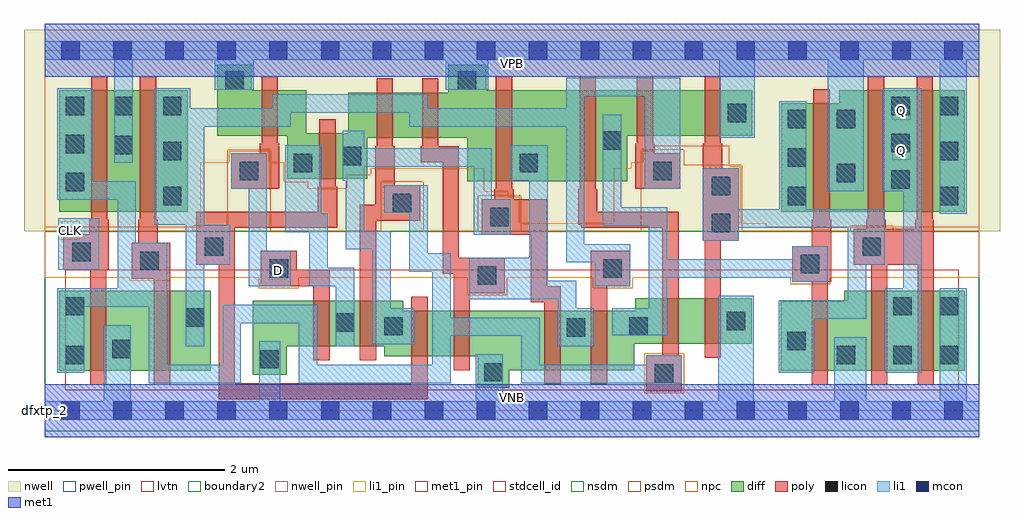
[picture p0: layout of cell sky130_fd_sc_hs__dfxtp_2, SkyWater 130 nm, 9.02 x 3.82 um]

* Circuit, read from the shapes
.subckt sky130_fd_sc_hs__dfxtp_2 CLK D Q VGND VNB VPB VPWR
XM1 VGND CLK n1 VNB sky130_fd_pr__nfet_01v8_lvt w=0.74 l=0.15
XM2 n2 n1 VGND VNB sky130_fd_pr__nfet_01v8_lvt w=0.74 l=0.15
XM3 n3 D VGND VNB sky130_fd_pr__nfet_01v8_lvt w=0.42 l=0.15
XM4 n4 n1 n3 VNB sky130_fd_pr__nfet_01v8_lvt w=0.42 l=0.15
XM5 n5 n2 n4 VNB sky130_fd_pr__nfet_01v8_lvt w=0.42 l=0.15
XM6 VGND n6 n5 VNB sky130_fd_pr__nfet_01v8_lvt w=0.42 l=0.15
XM7 n6 n4 VGND VNB sky130_fd_pr__nfet_01v8_lvt w=0.55 l=0.15
XM8 n7 n2 n6 VNB sky130_fd_pr__nfet_01v8_lvt w=0.55 l=0.15
XM9 n8 n1 n7 VNB sky130_fd_pr__nfet_01v8_lvt w=0.42 l=0.15
XM10 VGND n9 n8 VNB sky130_fd_pr__nfet_01v8_lvt w=0.42 l=0.15
XM11 VGND n7 n9 VNB sky130_fd_pr__nfet_01v8_lvt w=0.64 l=0.15
XM12 Q n9 VGND VNB sky130_fd_pr__nfet_01v8_lvt w=0.74 l=0.15 m=2
XM13 VPWR CLK n1 VPB sky130_fd_pr__pfet_01v8 w=1.12 l=0.15
XM14 n2 n1 VPWR VPB sky130_fd_pr__pfet_01v8 w=1.12 l=0.15
XM15 n3 D VPWR VPB sky130_fd_pr__pfet_01v8 w=0.42 l=0.15
XM16 n4 n2 n3 VPB sky130_fd_pr__pfet_01v8 w=0.42 l=0.15
XM17 n10 n1 n4 VPB sky130_fd_pr__pfet_01v8 w=0.42 l=0.15
XM18 VPWR n6 n10 VPB sky130_fd_pr__pfet_01v8 w=0.42 l=0.15
XM19 n6 n4 VPWR VPB sky130_fd_pr__pfet_01v8 w=0.84 l=0.15
XM20 n7 n1 n6 VPB sky130_fd_pr__pfet_01v8 w=0.84 l=0.15
XM21 n11 n2 n7 VPB sky130_fd_pr__pfet_01v8 w=0.42 l=0.15
XM22 VPWR n9 n11 VPB sky130_fd_pr__pfet_01v8 w=0.42 l=0.15
XM23 VPWR n7 n9 VPB sky130_fd_pr__pfet_01v8 w=1 l=0.15
XM24 Q n9 VPWR VPB sky130_fd_pr__pfet_01v8 w=1.12 l=0.15 m=2
.ends

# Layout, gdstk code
import gdstk
lib = gdstk.Library(unit=1e-6, precision=1e-09)
def R(c, l, rs):  # rectangles x0, y0, x1, y1
    for r in rs: c.add(gdstk.rectangle(r[:2], r[2:], *l))
def A(c, l, x, y, w, h, nx, ny, dx, dy):  # array of equal rectangles
    R(c, l, [(x+i*dx, y+j*dy, x+i*dx+w, y+j*dy+h) for i in range(nx) for j in range(ny)])
def P(c, l, *ps):  # polygons
    for p in ps: c.add(gdstk.Polygon(p, *l))
nwell_pin = (64, 16)
nwell = (64, 20)
diff = (65, 20)
poly = (66, 20)
licon = (66, 44)
li1_pin = (67, 16)
li1 = (67, 20)
mcon = (67, 44)
met1_pin = (68, 16)
met1 = (68, 20)
stdcell_id = (81, 4)
nsdm = (93, 44)
psdm = (94, 20)
npc = (95, 20)
pwell_pin = (122, 16)
lvtn = (125, 44)
boundary2 = (236, 0)

sky130_fd_sc_hs__dfxtp_2 = lib.new_cell('sky130_fd_sc_hs__dfxtp_2')
R(sky130_fd_sc_hs__dfxtp_2, nwell_pin, [(0,3.085,8.64,3.33)])
R(sky130_fd_sc_hs__dfxtp_2, nwell, [(-0.19,1.66,8.83,3.52)])
R(sky130_fd_sc_hs__dfxtp_2, diff, [(0.135,0.37,1.535,1.11), (0.135,1.84,1.325,2.96)])
P(sky130_fd_sc_hs__dfxtp_2, diff, [(6.535,1.04),(5.46,1.04),(5.46,0.925),(3.315,0.925),(3.315,1.015),(1.925,1.015),(1.925,0.33),(2.24,0.33),(2.24,0.595),(3.14,0.595),(3.14,0.505),(4.005,0.505),(4.005,0.21),(4.295,0.21),(4.295,0.375),(5.45,0.375),(5.45,0.62),(6.535,0.62)],
  [(6.54,2.96),(4.08,2.96),(4.08,3.195),(3.73,3.195),(3.73,2.94),(2.805,2.94),(2.805,2.565),(2.42,2.565),(2.42,2.96),(1.915,2.96),(1.915,3.195),(1.595,3.195),(1.595,2.54),(2.245,2.54),(2.245,2.145),(2.98,2.145),(2.98,2.52),(3.905,2.52),(3.905,2.12),(5.385,2.12),(5.385,2.54),(6.54,2.54)],
  [(8.505,2.96),(7.345,2.96),(7.345,2.84),(6.81,2.84),(6.81,1.84),(8.505,1.84)],
  [(8.505,1.11),(7.39,1.11),(7.39,1.01),(6.805,1.01),(6.805,0.37),(8.505,0.37)])
P(sky130_fd_sc_hs__dfxtp_2, poly, [(3.47,2.085),(3.235,2.085),(3.235,2.445),(3.22,2.445),(3.22,3.07),(3.07,3.07),(3.07,2.445),(3.055,2.445),(3.055,1.905),(2.915,1.905),(2.915,0.465),(3.065,0.465),(3.065,1.755),(3.47,1.755)],
  [(2.635,1.3),(2.33,1.3),(2.33,1.48),(2,1.48),(2,1.15),(2.485,1.15),(2.485,0.465),(2.635,0.465)],
  [(2.17,2.465),(2.155,2.465),(2.155,3.09),(2.005,3.09),(2.005,2.465),(1.99,2.465),(1.99,2.38),(1.725,2.38),(1.725,2.05),(2.17,2.05)],
  [(1.16,1.55),(1.045,1.55),(1.045,1.765),(1.03,1.765),(1.03,3.09),(0.88,3.09),(0.88,1.765),(0.865,1.765),(0.865,1.55),(0.805,1.55),(0.805,1.22),(1.01,1.22),(1.01,0.24),(1.16,0.24)],
  [(0.595,1.765),(0.58,1.765),(0.58,3.09),(0.43,3.09),(0.43,1.765),(0.415,1.765),(0.415,1.63),(0.175,1.63),(0.175,1.3),(0.42,1.3),(0.42,0.24),(0.57,0.24),(0.57,1.3),(0.595,1.3)],
  [(3.54,1.055),(3.39,1.055),(3.39,0.255),(1.76,0.255),(1.76,1.69),(2.705,1.69),(2.705,2.07),(2.69,2.07),(2.69,2.695),(2.54,2.695),(2.54,2.07),(2.525,2.07),(2.525,1.84),(1.4,1.84),(1.4,1.35),(1.61,1.35),(1.61,0.105),(3.54,0.105)],
  [(4.255,1.415),(3.83,1.415),(3.83,2.445),(3.64,2.445),(3.64,3.07),(3.49,3.07),(3.49,2.445),(3.475,2.445),(3.475,2.295),(3.68,2.295),(3.68,1.265),(3.78,1.265),(3.78,0.375),(3.93,0.375),(3.93,1.085),(4.255,1.085)],
  [(4.77,1.15),(4.645,1.15),(4.645,1.955),(4.335,1.955),(4.335,2.045),(4.32,2.045),(4.32,3.09),(4.17,3.09),(4.17,2.045),(4.155,2.045),(4.155,1.955),(4.04,1.955),(4.04,1.625),(4.495,1.625),(4.495,1),(4.62,1),(4.62,0.245),(4.77,0.245)],
  [(5.415,1.48),(5.05,1.48),(5.05,0.245),(5.2,0.245),(5.2,1.15),(5.415,1.15)],
  [(5.875,2.38),(5.64,2.38),(5.64,2.465),(5.625,2.465),(5.625,3.09),(5.475,3.09),(5.475,2.465),(5.46,2.465),(5.46,2.05),(5.875,2.05)],
  [(5.89,0.51),(5.86,0.51),(5.86,1.84),(5.11,1.84),(5.11,2.045),(5.095,2.045),(5.095,3.09),(4.945,3.09),(4.945,2.045),(4.93,2.045),(4.93,1.72),(4.96,1.72),(4.96,1.69),(5.71,1.69),(5.71,0.51),(5.56,0.51),(5.56,0.18),(5.89,0.18)],
  [(6.415,2.24),(6.265,2.24),(6.265,2.465),(6.25,2.465),(6.25,3.09),(6.1,3.09),(6.1,2.465),(6.085,2.465),(6.085,1.57),(6.1,1.57),(6.1,0.49),(6.25,0.49),(6.25,1.57),(6.415,1.57)],
  [(7.27,1.765),(7.255,1.765),(7.255,2.97),(7.105,2.97),(7.105,1.765),(7.09,1.765),(7.09,1.52),(6.91,1.52),(6.91,1.19),(7.09,1.19),(7.09,0.24),(7.24,0.24),(7.24,1.19),(7.27,1.19)],
  [(8.22,1.765),(8.21,1.765),(8.21,3.09),(8.06,3.09),(8.06,1.765),(8.045,1.765),(8.045,1.68),(7.775,1.68),(7.775,1.765),(7.76,1.765),(7.76,3.09),(7.61,3.09),(7.61,1.765),(7.595,1.765),(7.595,1.68),(7.48,1.68),(7.48,1.35),(7.64,1.35),(7.64,0.24),(7.79,0.24),(7.79,1.35),(8.07,1.35),(8.07,0.24),(8.22,0.24)])
A(sky130_fd_sc_hs__dfxtp_2, licon, 6.87, 1.9, 0.17, 0.17, 1, 3, 0, 0.355)
A(sky130_fd_sc_hs__dfxtp_2, licon, 8.275, 1.9, 0.17, 0.17, 1, 3, 0, 0.415)
A(sky130_fd_sc_hs__dfxtp_2, licon, 7.825, 2.05, 0.17, 0.17, 1, 3, 0, 0.34)
A(sky130_fd_sc_hs__dfxtp_2, licon, 0.195, 2.73, 0.17, 0.17, 3, 1, 0.45, 0)
R(sky130_fd_sc_hs__dfxtp_2, licon, [(5.64,0.26,5.81,0.43), (4.065,0.27,4.235,0.44), (1.995,0.39,2.165,0.56), (0.195,0.43,0.365,0.6), (7.32,0.43,7.49,0.6), (7.845,0.43,8.015,0.6), (8.275,0.43,8.445,0.6), (0.625,0.485,0.795,0.655), (6.865,0.56,7.035,0.73), (4.825,0.685,4.995,0.855), (3.14,0.695,3.31,0.865), (5.405,0.695,5.575,0.865), (2.69,0.73,2.86,0.9), (6.305,0.745,6.475,0.915), (1.305,0.775,1.475,0.945), (0.195,0.88,0.365,1.05), (7.845,0.88,8.015,1.05), (8.275,0.88,8.445,1.05), (4.005,1.165,4.175,1.335), (2.08,1.23,2.25,1.4), (5.165,1.23,5.335,1.4), (6.99,1.27,7.16,1.44), (0.885,1.3,1.055,1.47), (0.255,1.38,0.425,1.55), (1.48,1.43,1.65,1.6), (7.56,1.43,7.73,1.6), (6.165,1.65,6.335,1.82), (4.12,1.705,4.29,1.875), (3.22,1.835,3.39,2.005), (1.095,1.9,1.265,2.07), (6.165,1.99,6.335,2.16), (0.195,2.03,0.365,2.2), (7.32,2.11,7.49,2.28), (1.805,2.13,1.975,2.3), (5.625,2.13,5.795,2.3), (2.305,2.205,2.475,2.375), (4.39,2.205,4.56,2.375), (2.755,2.27,2.925,2.44), (1.095,2.315,1.265,2.485), (0.645,2.37,0.815,2.54), (0.195,2.38,0.365,2.55), (5.16,2.41,5.33,2.58), (7.32,2.61,7.49,2.78), (6.315,2.665,6.485,2.835), (1.67,2.965,1.84,3.135), (3.82,2.965,3.99,3.135)])
R(sky130_fd_sc_hs__dfxtp_2, li1_pin, [(2.075,1.21,2.245,1.38), (0.155,1.58,0.325,1.75), (7.835,2.32,8.005,2.49), (7.835,2.69,8.005,2.86)])
R(sky130_fd_sc_hs__dfxtp_2, li1, [(0.125,1.3,0.505,1.78)])
P(sky130_fd_sc_hs__dfxtp_2, li1, [(0,-0.085),(0,0.085),(0.545,0.085),(0.545,0.79),(0.795,0.79),(0.795,0.085),(1.985,0.085),(1.985,0.64),(2.18,0.64),(2.18,0.085),(3.985,0.085),(3.985,0.52),(4.235,0.52),(4.235,0.085),(6.225,0.085),(6.225,1.06),(6.555,1.06),(6.555,0.085),(7.3,0.085),(7.3,0.68),(7.595,0.68),(7.595,0.085),(8.275,0.085),(8.275,1.13),(8.525,1.13),(8.525,0.085),(8.64,0.085),(8.64,-0.085)],
  [(0,3.245),(0,3.415),(8.64,3.415),(8.64,3.245),(8.525,3.245),(8.525,1.82),(8.275,1.82),(8.275,3.245),(7.57,3.245),(7.57,2.03),(7.24,2.03),(7.24,3.245),(6.565,3.245),(6.565,2.52),(6.235,2.52),(6.235,3.245),(4.1,3.245),(4.1,2.965),(3.71,2.965),(3.71,3.245),(1.935,3.245),(1.935,2.965),(1.575,2.965),(1.575,3.245),(0.815,3.245),(0.815,2.29),(0.645,2.29),(0.645,3.245)],
  [(7.745,2.03),(7.745,2.98),(8.105,2.98),(8.105,0.35),(7.765,0.35),(7.765,1.13),(7.935,1.13),(7.935,2.03)],
  [(3.585,1.285),(3.37,1.285),(3.37,1.83),(3.14,1.83),(3.14,2.085),(3.54,2.085),(3.54,1.455),(3.755,1.455),(3.755,0.86),(4.575,0.86),(4.575,0.425),(5.56,0.425),(5.56,0.51),(5.89,0.51),(5.89,0.255),(4.405,0.255),(4.405,0.69),(3.755,0.69),(3.755,0.255),(2.35,0.255),(2.35,0.81),(1.815,0.81),(1.815,0.255),(0.965,0.255),(0.965,0.96),(0.365,0.96),(0.365,0.35),(0.115,0.35),(0.115,1.13),(0.675,1.13),(0.675,1.95),(0.115,1.95),(0.115,2.98),(0.445,2.98),(0.445,2.12),(0.845,2.12),(0.845,1.55),(1.135,1.55),(1.135,0.425),(1.645,0.425),(1.645,0.98),(2.52,0.98),(2.52,0.425),(3.585,0.425)],
  [(6.415,1.86),(6.79,1.86),(6.79,2.86),(7.04,2.86),(7.04,1.86),(7.765,1.86),(7.765,1.35),(7.595,1.35),(7.595,0.85),(7.115,0.85),(7.115,0.35),(6.785,0.35),(6.785,1.02),(7.425,1.02),(7.425,1.69),(6.415,1.69),(6.415,1.57),(6.085,1.57),(6.085,2.24),(6.415,2.24)],
  [(1.345,2.795),(2.105,2.795),(2.105,2.925),(3.54,2.925),(3.54,2.795),(4.82,2.795),(4.82,3.075),(5.875,3.075),(5.875,2.05),(5.545,2.05),(5.545,2.905),(4.99,2.905),(4.99,1.54),(5.415,1.54),(5.415,1.15),(5.085,1.15),(5.085,1.37),(4.82,1.37),(4.82,2.625),(3.37,2.625),(3.37,2.755),(2.275,2.755),(2.275,2.625),(1.475,2.625),(1.475,1.72),(1.715,1.72),(1.715,1.35),(1.475,1.35),(1.475,0.595),(1.305,0.595),(1.305,1.72),(1.015,1.72),(1.015,2.98),(1.345,2.98)],
  [(2.445,1.15),(2.445,1.65),(2.225,1.65),(2.225,2.455),(2.555,2.455),(2.555,1.82),(2.615,1.82),(2.615,1.32),(2.86,1.32),(2.86,0.595),(2.69,0.595),(2.69,1.15)],
  [(2.785,1.49),(2.785,2.125),(2.755,2.125),(2.755,2.585),(2.955,2.585),(2.955,2.425),(4.135,2.425),(4.135,1.955),(4.31,1.955),(4.31,1.625),(3.965,1.625),(3.965,2.255),(2.955,2.255),(2.955,1.66),(3.2,1.66),(3.2,0.945),(3.415,0.945),(3.415,0.615),(3.03,0.615),(3.03,1.49)],
  [(5.585,0.945),(5.585,1.71),(5.16,1.71),(5.16,2.735),(5.33,2.735),(5.33,1.88),(5.755,1.88),(5.755,1.4),(6.91,1.4),(6.91,1.52),(7.24,1.52),(7.24,1.19),(6.91,1.19),(6.91,1.23),(5.755,1.23),(5.755,0.695),(5.245,0.695),(5.245,0.945)],
  [(4.48,1.415),(4.48,2.125),(4.305,2.125),(4.305,2.455),(4.65,2.455),(4.65,1.2),(4.915,1.2),(4.915,0.945),(5.075,0.945),(5.075,0.595),(4.745,0.595),(4.745,1.03),(3.925,1.03),(3.925,1.415)],
  [(1.885,1.15),(1.885,2.05),(1.725,2.05),(1.725,2.38),(2.055,2.38),(2.055,1.48),(2.275,1.48),(2.275,1.15)])
A(sky130_fd_sc_hs__dfxtp_2, mcon, 0.155, -0.085, 0.17, 0.17, 18, 2, 0.48, 3.33)
R(sky130_fd_sc_hs__dfxtp_2, met1_pin, [(0,0,8.64,0.245), (0,3.085,8.64,3.33)])
R(sky130_fd_sc_hs__dfxtp_2, met1, [(0,-0.245,8.64,0.245), (0,3.085,8.64,3.575)])
R(sky130_fd_sc_hs__dfxtp_2, stdcell_id, [(0,0,8.64,3.33)])
R(sky130_fd_sc_hs__dfxtp_2, nsdm, [(0,-0.19,8.64,1.66)])
P(sky130_fd_sc_hs__dfxtp_2, psdm, [(8.64,3.52),(0,3.52),(0,1.66),(1.37,1.66),(1.37,1.71),(1.695,1.71),(1.695,2.41),(2.085,2.41),(2.085,1.66),(3.11,1.66),(3.11,2.115),(3.5,2.115),(3.5,1.66),(4.01,1.66),(4.01,1.985),(4.4,1.985),(4.4,1.66),(5.515,1.66),(5.515,2.41),(5.905,2.41),(5.905,2.27),(6.445,2.27),(6.445,1.66),(7.45,1.66),(7.45,1.71),(7.84,1.71),(7.84,1.66),(8.64,1.66)])
R(sky130_fd_sc_hs__dfxtp_2, npc, [(5.54,0.16,5.91,0.53)])
P(sky130_fd_sc_hs__dfxtp_2, npc, [(8.64,1.7),(6.67,1.7),(6.67,1.73),(6.435,1.73),(6.435,2.26),(6.33,2.26),(6.33,2.45),(5.63,2.45),(5.63,2.4),(5.525,2.4),(5.525,2.295),(5.42,2.295),(5.42,2.24),(5.26,2.24),(5.26,1.73),(4.39,1.73),(4.39,1.975),(4.285,1.975),(4.285,2.03),(4.065,2.03),(4.065,2.24),(3.015,2.24),(3.015,2.18),(2.795,2.18),(2.795,2.055),(2.435,2.055),(2.435,2.115),(2.215,2.115),(2.215,2.295),(2.075,2.295),(2.075,2.4),(1.705,2.4),(1.705,2.295),(1.44,2.295),(1.44,1.7),(0,1.7),(0,1.23),(0.785,1.23),(0.785,1.2),(1.155,1.2),(1.155,1.23),(1.98,1.23),(1.98,1.13),(2.35,1.13),(2.35,1.23),(3.905,1.23),(3.905,1.065),(4.275,1.065),(4.275,1.23),(5.065,1.23),(5.065,1.13),(5.435,1.13),(5.435,1.23),(6.89,1.23),(6.89,1.17),(7.26,1.17),(7.26,1.23),(8.64,1.23)])
R(sky130_fd_sc_hs__dfxtp_2, pwell_pin, [(0,0,8.64,0.245)])
R(sky130_fd_sc_hs__dfxtp_2, lvtn, [(0.19,0.19,8.45,1.3)])
R(sky130_fd_sc_hs__dfxtp_2, boundary2, [(0,0,8.64,3.33)])
sky130_fd_sc_hs__dfxtp_2.add(gdstk.Label('dfxtp_2', (0,0), layer=83, texttype=44))
sky130_fd_sc_hs__dfxtp_2.add(gdstk.Label('VNB', (4.32,0.123), layer=64, texttype=59))
sky130_fd_sc_hs__dfxtp_2.add(gdstk.Label('VPB', (4.32,3.208), layer=64, texttype=5))
sky130_fd_sc_hs__dfxtp_2.add(gdstk.Label('VPWR', (4.32,3.208), layer=68, texttype=5))
sky130_fd_sc_hs__dfxtp_2.add(gdstk.Label('VGND', (4.32,0.123), layer=68, texttype=5))
sky130_fd_sc_hs__dfxtp_2.add(gdstk.Label('Q', (7.92,2.405), layer=67, texttype=5))
sky130_fd_sc_hs__dfxtp_2.add(gdstk.Label('Q', (7.92,2.775), layer=67, texttype=5))
sky130_fd_sc_hs__dfxtp_2.add(gdstk.Label('CLK', (0.24,1.665), layer=67, texttype=5))
sky130_fd_sc_hs__dfxtp_2.add(gdstk.Label('D', (2.16,1.295), layer=67, texttype=5))

lib.write_gds('sky130_fd_sc_hs__dfxtp_2.gds')
